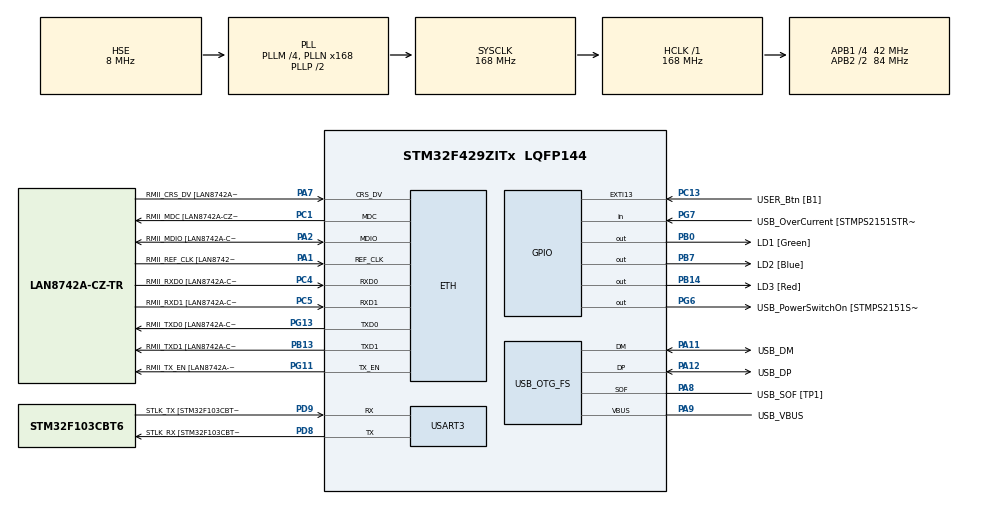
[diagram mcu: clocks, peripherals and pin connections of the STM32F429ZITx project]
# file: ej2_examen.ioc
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ETH.MediaInterface=HAL_ETH_RMII_MODE
ETH.PHY_Name=LAN8742A_PHY_ADDRESS
ETH.PHY_Value=0
ETH.PhyAddress=0
Mcu.Family=STM32F4
Mcu.Name=STM32F429ZITx
Mcu.Package=LQFP144
NVIC.PriorityGroup=NVIC_PRIORITYGROUP_4
PA1.GPIO_Label=RMII_REF_CLK [LAN8742A-CZ-TR_REFCLK0]
PA1.Mode=RMII
PA1.Signal=ETH_REF_CLK
PA10.GPIO_Label=USB_ID
PA10.Signal=USB_OTG_FS_ID
PA11.GPIO_Label=USB_DM
PA11.Mode=Device_Only
PA11.Signal=USB_OTG_FS_DM
PA12.GPIO_Label=USB_DP
PA12.Mode=Device_Only
PA12.Signal=USB_OTG_FS_DP
PA13.GPIO_Label=TMS
PA13.Mode=Serial_Wire
PA13.Signal=SYS_JTMS-SWDIO
PA14.GPIO_Label=TCK
PA14.Mode=Serial_Wire
PA14.Signal=SYS_JTCK-SWCLK
PA2.GPIO_Label=RMII_MDIO [LAN8742A-CZ-TR_MDIO]
PA2.Mode=RMII
PA2.Signal=ETH_MDIO
PA7.GPIO_Label=RMII_CRS_DV [LAN8742A-CZ-TR_CRS_DV]
PA7.Mode=RMII
PA7.Signal=ETH_CRS_DV
PA8.GPIO_Label=USB_SOF [TP1]
PA8.Mode=Activate_SOF_FS
PA8.Signal=USB_OTG_FS_SOF
PA9.GPIO_Label=USB_VBUS
PA9.Mode=Activate_VBUS
PA9.Signal=USB_OTG_FS_VBUS
PB0.GPIO_Label=LD1 [Green]
PB0.Signal=GPIO_Output
PB13.GPIO_Label=RMII_TXD1 [LAN8742A-CZ-TR_TXD1]
PB13.Mode=RMII
PB13.Signal=ETH_TXD1
PB14.GPIO_Label=LD3 [Red]
PB14.Signal=GPIO_Output
PB7.GPIO_Label=LD2 [Blue]
PB7.Signal=GPIO_Output
PC1.GPIO_Label=RMII_MDC [LAN8742A-CZ-TR_MDC]
PC1.Mode=RMII
PC1.Signal=ETH_MDC
PC13.GPIO_Label=USER_Btn [B1]
PC13.Signal=GPXTI13
PC14/OSC32_IN.Mode=LSE-External-Oscillator
PC14/OSC32_IN.Signal=RCC_OSC32_IN
PC15/OSC32_OUT.Mode=LSE-External-Oscillator
PC15/OSC32_OUT.Signal=RCC_OSC32_OUT
PC4.GPIO_Label=RMII_RXD0 [LAN8742A-CZ-TR_RXD0]
PC4.Mode=RMII
PC4.Signal=ETH_RXD0
PC5.GPIO_Label=RMII_RXD1 [LAN8742A-CZ-TR_RXD1]
PC5.Mode=RMII
PC5.Signal=ETH_RXD1
PD8.GPIO_Label=STLK_RX [STM32F103CBT6_PA3]
PD8.Mode=Asynchronous
PD8.Signal=USART3_TX
PD9.GPIO_Label=STLK_TX [STM32F103CBT6_PA2]
PD9.Mode=Asynchronous
PD9.Signal=USART3_RX
PG11.GPIO_Label=RMII_TX_EN [LAN8742A-CZ-TR_TXEN]
PG11.Mode=RMII
PG11.Signal=ETH_TX_EN
PG13.GPIO_Label=RMII_TXD0 [LAN8742A-CZ-TR_TXD0]
PG13.Mode=RMII
PG13.Signal=ETH_TXD0
PG6.GPIO_Label=USB_PowerSwitchOn [STMPS2151STR_EN]
PG6.Signal=GPIO_Output
PG7.GPIO_Label=USB_OverCurrent [STMPS2151STR_FAULT]
PG7.Signal=GPIO_Input
PH0/OSC_IN.GPIO_Label=MCO [STM32F103CBT6_PA8]
PH0/OSC_IN.Mode=HSE-External-Clock-Source
PH0/OSC_IN.Signal=RCC_OSC_IN
PH1/OSC_OUT.Mode=HSE-External-Clock-Source
PH1/OSC_OUT.Signal=RCC_OSC_OUT
ProjectManager.HeapSize=0x200
ProjectManager.StackSize=0x400
ProjectManager.TargetToolchain=STM32CubeIDE
RCC.48MHZClocksFreq_Value=48000000
RCC.AHBFreq_Value=168000000
RCC.APB1CLKDivider=RCC_HCLK_DIV4
RCC.APB1Freq_Value=42000000
RCC.APB1TimFreq_Value=84000000
RCC.APB2CLKDivider=RCC_HCLK_DIV2
RCC.APB2Freq_Value=84000000
RCC.APB2TimCLKDivider=2
RCC.APB2TimFreq_Value=168000000
RCC.CortexFreq_Value=168000000
RCC.HCLKFreq_Value=168000000
RCC.HSE_VALUE=8000000
RCC.HSI_VALUE=16000000
RCC.PLLM=4
RCC.PLLMUL=RCC_PLL_MUL9
RCC.PLLN=168
RCC.PLLQ=7
RCC.PRESCALERUSB=RCC_USBCLKSOURCE_PLL_DIV1_5
RCC.SYSCLKFreq_VALUE=168000000
RCC.SYSCLKSource=RCC_SYSCLKSOURCE_PLLCLK
RCC.SYSCLKSourceVirtual=RCC_SYSCLKSOURCE_PLLCLK
RCC.USBFreq_Value=48000000
RCC.VCOOutputFreq_Value=336000000
USART3.VirtualMode=VM_ASYNC
USB_OTG_FS.VirtualMode=Device_Only
board=NUCLEO-F429ZI

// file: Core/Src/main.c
/* USER CODE BEGIN Header */
/**
  ******************************************************************************
  * @file           : main.c
  * @brief          : Main program body
  ******************************************************************************
  * @attention
  *
  * Copyright (c) 2025 STMicroelectronics.
  * All rights reserved.
  *
  * This software is licensed under terms that can be found in the LICENSE file
  * in the root directory of this software component.
  * If no LICENSE file comes with this software, it is provided AS-IS.
  *
  ******************************************************************************
  */
/* USER CODE END Header */
#include "main.h"
#include "string.h"

/* USER CODE BEGIN PD */
#define DELAY 100
/* USER CODE END PD */

ETH_TxPacketConfig TxConfig;
ETH_DMADescTypeDef  DMARxDscrTab[ETH_RX_DESC_CNT]; /* Ethernet Rx DMA Descriptors */
ETH_DMADescTypeDef  DMATxDscrTab[ETH_TX_DESC_CNT]; /* Ethernet Tx DMA Descriptors */

ETH_HandleTypeDef heth;

UART_HandleTypeDef huart3;

PCD_HandleTypeDef hpcd_USB_OTG_FS;

void SystemClock_Config(void);
static void MX_GPIO_Init(void);
static void MX_ETH_Init(void);
static void MX_USART3_UART_Init(void);
static void MX_USB_OTG_FS_PCD_Init(void);

int main(void)
{

  /* MCU Configuration--------------------------------------------------------*/

  /* Reset of all peripherals, Initializes the Flash interface and the Systick. */
  HAL_Init();

  /* Configure the system clock */
  SystemClock_Config();

  /* Initialize all configured peripherals */
  MX_GPIO_Init();
  MX_ETH_Init();
  MX_USART3_UART_Init();
  MX_USB_OTG_FS_PCD_Init();
  /* USER CODE BEGIN 2 */
  int contador = -1;
  int button_pressed = -1;
  int last_contador = -1;
  uint8_t numero[]=" Indice: ";
  uint8_t fibonacci[]=" Su Fibanacci es: \n\r";
  int fi=0;
  /* USER CODE END 2 */

  /* Infinite loop */
  /* USER CODE BEGIN WHILE */
  while (1)
  {
	  if (HAL_GPIO_ReadPin(GPIOC, GPIO_PIN_13) == GPIO_PIN_RESET) {
	  	if (!button_pressed) {
	  		contador++;
	  		fi=obtener_fibonacci(contador);
	  		HAL_Delay(DELAY);
	  		if (contador > 7) {
	  			contador = 0;
	  			fi =0;
	  		}
	  		button_pressed = 1;
	  	}
	  } else {
	  	button_pressed = 0;
	  }
	  // Solo ejecutar si hay un cambio en el contador
	  if (contador != last_contador) {
		  last_contador = contador; // Actualiza el último estado impreso
		  HAL_UART_Transmit(&huart3, numero, strlen(numero), HAL_MAX_DELAY);
		  print_number(contador);
		  HAL_UART_Transmit(&huart3, fibonacci, strlen(fibonacci), HAL_MAX_DELAY);
		  print_number(fi);
		  if(fi%2==0){
			  HAL_GPIO_WritePin(GPIOB, LD1_Pin, GPIO_PIN_SET);
			  HAL_GPIO_WritePin(GPIOB, LD2_Pin, GPIO_PIN_RESET);
		  } else {
			  HAL_GPIO_WritePin(GPIOB, LD2_Pin, GPIO_PIN_SET);
			  HAL_GPIO_WritePin(GPIOB, LD1_Pin, GPIO_PIN_RESET);
		  }
		  if(fi>10){
		  	  HAL_GPIO_WritePin(GPIOB, LD3_Pin, GPIO_PIN_SET);
		  }else{
			  HAL_GPIO_WritePin(GPIOB, LD3_Pin, GPIO_PIN_RESET);
		  }
	  }

    /* USER CODE END WHILE */

  }
}

void SystemClock_Config(void)
{
  RCC_OscInitTypeDef RCC_OscInitStruct = {0};
  RCC_ClkInitTypeDef RCC_ClkInitStruct = {0};

  /** Configure the main internal regulator output voltage
  */
  __HAL_RCC_PWR_CLK_ENABLE();
  __HAL_PWR_VOLTAGESCALING_CONFIG(PWR_REGULATOR_VOLTAGE_SCALE1);

  /** Initializes the RCC Oscillators according to the specified parameters
  * in the RCC_OscInitTypeDef structure.
  */
  RCC_OscInitStruct.OscillatorType = RCC_OSCILLATORTYPE_HSE;
  RCC_OscInitStruct.HSEState = RCC_HSE_BYPASS;
  RCC_OscInitStruct.PLL.PLLState = RCC_PLL_ON;
  RCC_OscInitStruct.PLL.PLLSource = RCC_PLLSOURCE_HSE;
  RCC_OscInitStruct.PLL.PLLM = 4;
  RCC_OscInitStruct.PLL.PLLN = 168;
  RCC_OscInitStruct.PLL.PLLP = RCC_PLLP_DIV2;
  RCC_OscInitStruct.PLL.PLLQ = 7;
  if (HAL_RCC_OscConfig(&RCC_OscInitStruct) != HAL_OK)
  {
    Error_Handler();
  }

  /** Initializes the CPU, AHB and APB buses clocks
  */
  RCC_ClkInitStruct.ClockType = RCC_CLOCKTYPE_HCLK|RCC_CLOCKTYPE_SYSCLK
                              |RCC_CLOCKTYPE_PCLK1|RCC_CLOCKTYPE_PCLK2;
  RCC_ClkInitStruct.SYSCLKSource = RCC_SYSCLKSOURCE_PLLCLK;
  RCC_ClkInitStruct.AHBCLKDivider = RCC_SYSCLK_DIV1;
  RCC_ClkInitStruct.APB1CLKDivider = RCC_HCLK_DIV4;
  RCC_ClkInitStruct.APB2CLKDivider = RCC_HCLK_DIV2;

  if (HAL_RCC_ClockConfig(&RCC_ClkInitStruct, FLASH_LATENCY_5) != HAL_OK)
  {
    Error_Handler();
  }
}

static void MX_ETH_Init(void)
{

   static uint8_t MACAddr[6];

  heth.Instance = ETH;
  MACAddr[0] = 0x00;
  MACAddr[1] = 0x80;
  MACAddr[2] = 0xE1;
  MACAddr[3] = 0x00;
  MACAddr[4] = 0x00;
  MACAddr[5] = 0x00;
  heth.Init.MACAddr = &MACAddr[0];
  heth.Init.MediaInterface = HAL_ETH_RMII_MODE;
  heth.Init.TxDesc = DMATxDscrTab;
  heth.Init.RxDesc = DMARxDscrTab;
  heth.Init.RxBuffLen = 1524;

  if (HAL_ETH_Init(&heth) != HAL_OK)
  {
    Error_Handler();
  }

  memset(&TxConfig, 0 , sizeof(ETH_TxPacketConfig));
  TxConfig.Attributes = ETH_TX_PACKETS_FEATURES_CSUM | ETH_TX_PACKETS_FEATURES_CRCPAD;
  TxConfig.ChecksumCtrl = ETH_CHECKSUM_IPHDR_PAYLOAD_INSERT_PHDR_CALC;
  TxConfig.CRCPadCtrl = ETH_CRC_PAD_INSERT;

}

static void MX_USART3_UART_Init(void)
{

  huart3.Instance = USART3;
  huart3.Init.BaudRate = 9600;
  huart3.Init.WordLength = UART_WORDLENGTH_8B;
  huart3.Init.StopBits = UART_STOPBITS_1;
  huart3.Init.Parity = UART_PARITY_NONE;
  huart3.Init.Mode = UART_MODE_TX_RX;
  huart3.Init.HwFlowCtl = UART_HWCONTROL_NONE;
  huart3.Init.OverSampling = UART_OVERSAMPLING_16;
  if (HAL_UART_Init(&huart3) != HAL_OK)
  {
    Error_Handler();
  }

}

static void MX_USB_OTG_FS_PCD_Init(void)
{

  hpcd_USB_OTG_FS.Instance = USB_OTG_FS;
  hpcd_USB_OTG_FS.Init.dev_endpoints = 4;
  hpcd_USB_OTG_FS.Init.speed = PCD_SPEED_FULL;
  hpcd_USB_OTG_FS.Init.dma_enable = DISABLE;
  hpcd_USB_OTG_FS.Init.phy_itface = PCD_PHY_EMBEDDED;
  hpcd_USB_OTG_FS.Init.Sof_enable = ENABLE;
  hpcd_USB_OTG_FS.Init.low_power_enable = DISABLE;
  hpcd_USB_OTG_FS.Init.lpm_enable = DISABLE;
  hpcd_USB_OTG_FS.Init.vbus_sensing_enable = ENABLE;
  hpcd_USB_OTG_FS.Init.use_dedicated_ep1 = DISABLE;
  if (HAL_PCD_Init(&hpcd_USB_OTG_FS) != HAL_OK)
  {
    Error_Handler();
  }

}

static void MX_GPIO_Init(void)
{
  GPIO_InitTypeDef GPIO_InitStruct = {0};

  /* GPIO Ports Clock Enable */
  __HAL_RCC_GPIOC_CLK_ENABLE();
  __HAL_RCC_GPIOH_CLK_ENABLE();
  __HAL_RCC_GPIOA_CLK_ENABLE();
  __HAL_RCC_GPIOB_CLK_ENABLE();
  __HAL_RCC_GPIOD_CLK_ENABLE();
  __HAL_RCC_GPIOG_CLK_ENABLE();

  /*Configure GPIO pin Output Level */
  HAL_GPIO_WritePin(GPIOB, LD1_Pin|LD3_Pin|LD2_Pin, GPIO_PIN_RESET);

  /*Configure GPIO pin Output Level */
  HAL_GPIO_WritePin(USB_PowerSwitchOn_GPIO_Port, USB_PowerSwitchOn_Pin, GPIO_PIN_RESET);

  /*Configure GPIO pin : USER_Btn_Pin */
  GPIO_InitStruct.Pin = USER_Btn_Pin;
  GPIO_InitStruct.Mode = GPIO_MODE_IT_RISING;
  GPIO_InitStruct.Pull = GPIO_NOPULL;
  HAL_GPIO_Init(USER_Btn_GPIO_Port, &GPIO_InitStruct);

  /*Configure GPIO pins : LD1_Pin LD3_Pin LD2_Pin */
  GPIO_InitStruct.Pin = LD1_Pin|LD3_Pin|LD2_Pin;
  GPIO_InitStruct.Mode = GPIO_MODE_OUTPUT_PP;
  GPIO_InitStruct.Pull = GPIO_NOPULL;
  GPIO_InitStruct.Speed = GPIO_SPEED_FREQ_LOW;
  HAL_GPIO_Init(GPIOB, &GPIO_InitStruct);

  /*Configure GPIO pin : USB_PowerSwitchOn_Pin */
  GPIO_InitStruct.Pin = USB_PowerSwitchOn_Pin;
  GPIO_InitStruct.Mode = GPIO_MODE_OUTPUT_PP;
  GPIO_InitStruct.Pull = GPIO_NOPULL;
  GPIO_InitStruct.Speed = GPIO_SPEED_FREQ_LOW;
  HAL_GPIO_Init(USB_PowerSwitchOn_GPIO_Port, &GPIO_InitStruct);

  /*Configure GPIO pin : USB_OverCurrent_Pin */
  GPIO_InitStruct.Pin = USB_OverCurrent_Pin;
  GPIO_InitStruct.Mode = GPIO_MODE_INPUT;
  GPIO_InitStruct.Pull = GPIO_NOPULL;
  HAL_GPIO_Init(USB_OverCurrent_GPIO_Port, &GPIO_InitStruct);

}

/* USER CODE BEGIN 4 */
void print_number(int num) {

	char buffer[6];  // Soporta hasta 5 dígitos + '\0'
    int index = 0;

     // Sumar 1 al número antes de procesarlo
    do {
        buffer[index++] = (num % 10) + '0';
        num /= 10;
    } while (num > 0);

    // Invertir el buffer para obtener el número en el orden correcto
    for (int i = 0, j = index - 1; i < j; i++, j--) {
        char temp = buffer[i];
        buffer[i] = buffer[j];
        buffer[j] = temp;
    }

    buffer[index] = '\0';  // Terminar el string

    // Enviar el número por UART
    HAL_UART_Transmit(&huart3, (uint8_t*)buffer, index, HAL_MAX_DELAY);
    HAL_UART_Transmit(&huart3, (uint8_t*)"\r\n", 2, HAL_MAX_DELAY);
}

void mostrar_en_leds(uint8_t numero) {
	numero = numero + 1;
    HAL_GPIO_WritePin(GPIOB, LD1_Pin, (numero >> 0) & 0x01); // Bit 0
    HAL_GPIO_WritePin(GPIOB, LD2_Pin, (numero >> 1) & 0x01); // Bit 1
    HAL_GPIO_WritePin(GPIOB, LD3_Pin, (numero >> 2) & 0x01); // Bit 2
}

int obtener_fibonacci(int indice) {
	if (indice == 0) return 0;
	if (indice == 1) return 1;
	int a = 0;
	int b = 1;
	int resultado = 0;
	for (int i = 2; i <= indice; i++) {
       resultado = a + b;
       a = b;
       b = resultado;
	}
	return resultado;
}
/* USER CODE END 4 */

void Error_Handler(void)
{
  __disable_irq();
  while (1)
  {
  }
}
